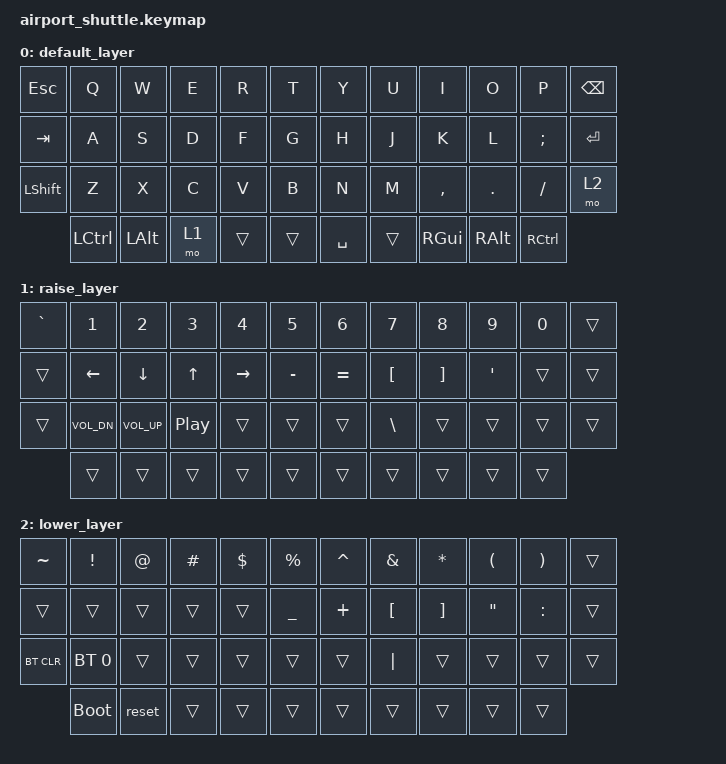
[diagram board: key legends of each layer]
#include <behaviors.dtsi>
#include <dt-bindings/zmk/keys.h>
#include <dt-bindings/zmk/bt.h>

/ {
  keymap {
    compatible = "zmk,keymap";

    default_layer {
// -----------------------------------------------------------------------------------------
// |  ESC  |  Q   |  W   |  E   |  R   |  T   |   Y   |  U    |  I   |  O   |   P   | BSPC   |
// |  TAB  |  A   |  S   |  D   |  F   |  G   |   H   |  J    |  K   |  L   |   ;   |  RET   |
// | SHIFT |  Z   |  X   |  C   |  V   |  B   |   N   |  M    |  ,   |  .   |   /   |  LWR   |
// | LCTRL | LALT | RAIS | ---  | ---- |     SPACE    |  ---- | ---- | RGUI | RALT  |  RCTRL |
      bindings = <
  &kp ESC      &kp Q    &kp W &kp E &kp R &kp T  &kp Y   &kp U  &kp I    &kp O   &kp P    &kp BKSP
  &kp TAB &kp A    &kp S &kp D &kp F &kp G  &kp H   &kp J  &kp K    &kp L   &kp SCLN &kp RET
  &kp LSHFT     &kp Z    &kp X &kp C &kp V &kp B  &kp N   &kp M  &kp CMMA &kp DOT &kp SLASH &mo 2
  &kp LCTRL     &kp LALT &mo 1 &trans &trans &kp SPC &trans &kp RGUI &kp RALT &kp RCTRL
      >;
    };

    raise_layer {
// -----------------------------------------------------------------------------------------
// |  trn  |  1   |  2   |  3   |  4   |  5   |   6   |  7    |  8   |  9   |   0   |  trn   |
// |  trn  |  LFT   |  DN   |  UP   |  RIT   |  -   |   =   |  [    |  ]   |  '   |   trn  |  trn   |
// |  trn  |  BT CLR   |  BT 0   |  trn   |  trn   |  trn   |   trn   |  \    |  trn  |  trn  |   trn   |  trn   |
// |  trn  |  trn | trns | ---  | ---- |     trns     |  ---- | ---- | RGUI | RALT  |  RCTRL |
      bindings = <
      &kp GRAVE &kp NUM_1 &kp NUM_2 &kp NUM_3 &kp NUM_4 &kp NUM_5 &kp NUM_6 &kp NUM_7 &kp NUM_8 &kp NUM_9 &kp NUM_0 &trans
      &trans &kp LEFT &kp DOWN &kp UP &kp RIGHT &kp MINUS &kp EQUAL &kp LBKT &kp RBKT &kp SQT &trans &trans
      &trans &kp C_VOL_DN &kp C_VOL_UP &kp C_PP &trans &trans &trans &kp BSLH &trans &trans &trans &trans
      &trans &trans &trans &trans &trans &trans &trans &trans &trans &trans
      >;
    };

    lower_layer {
      bindings = <
      &kp TILDE &kp EXCL &kp AT &kp POUND &kp DLLR &kp PRCNT &kp CARET &kp AMPS &kp STAR &kp LPAR &kp RPAR &trans
      &trans &trans &trans &trans &trans &kp UNDER &kp PLUS &kp LBKT &kp RBKT &kp DQT &kp COLON &trans
      &bt BT_CLR &bt BT_SEL 0 &trans &trans &trans &trans &trans &kp PIPE &trans &trans &trans &trans
      &bootloader &reset &trans &trans &trans &trans &trans &trans &trans &trans
      >;
    };
  };
};
